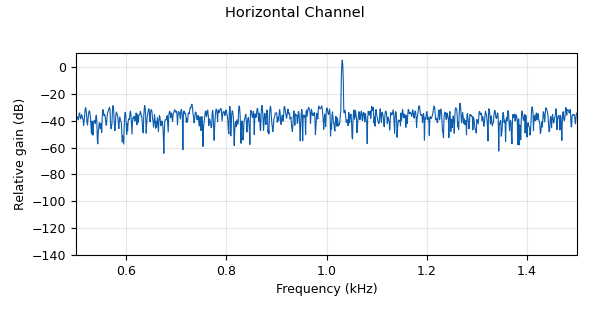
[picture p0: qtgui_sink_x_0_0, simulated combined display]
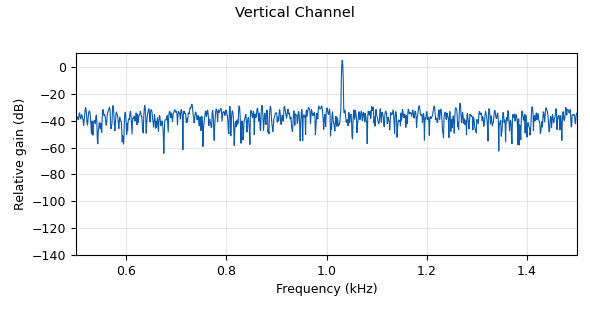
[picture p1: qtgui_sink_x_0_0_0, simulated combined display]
<?xml version='1.0' encoding='utf-8'?>
<?grc format='1' created='3.7.11'?>
<flow_graph>
<block>
<key>options</key>
<param><key>id</key><value>top_block</value></param>
<param><key>generate_options</key><value>qt_gui</value></param>
</block>
<block>
<key>variable</key>
<param><key>id</key><value>freq</value></param>
<param><key>value</key><value>1e3</value></param>
</block>
<block>
<key>variable_qtgui_range</key>
<param><key>id</key><value>offset</value></param>
<param><key>value</key><value>math.pi/4</value></param>
<param><key>label</key><value>Offset</value></param>
<param><key>min_len</key><value>20</value></param>
<param><key>orient</key><value>Qt.Horizontal</value></param>
<param><key>start</key><value>0</value></param>
<param><key>step</key><value>math.pi/20</value></param>
<param><key>stop</key><value>math.pi/2</value></param>
<param><key>widget</key><value>dial</value></param>
</block>
<block>
<key>variable</key>
<param><key>id</key><value>offset</value></param>
<param><key>_enabled</key><value>0</value></param>
<param><key>value</key><value>math.pi/2</value></param>
</block>
<block>
<key>variable</key>
<param><key>id</key><value>samp_rate</value></param>
<param><key>value</key><value>32000</value></param>
</block>
<block>
<key>variable</key>
<param><key>id</key><value>tx_amp</value></param>
<param><key>value</key><value>10</value></param>
</block>
<block>
<key>Maximal_Combining</key>
<param><key>id</key><value>Maximal_Combining_0</value></param>
</block>
<block>
<key>analog_fastnoise_source_x</key>
<param><key>id</key><value>analog_fastnoise_source_x_0</value></param>
<param><key>amp</key><value>1</value></param>
<param><key>noise_type</key><value>analog.GR_GAUSSIAN</value></param>
<param><key>type</key><value>complex</value></param>
<param><key>seed</key><value>0</value></param>
<param><key>samples</key><value>8192</value></param>
</block>
<block>
<key>analog_sig_source_x</key>
<param><key>id</key><value>analog_sig_source_x_0</value></param>
<param><key>amp</key><value>tx_amp*math.cos(offset)*math.cos(offset)</value></param>
<param><key>freq</key><value>freq</value></param>
<param><key>offset</key><value>0</value></param>
<param><key>type</key><value>complex</value></param>
<param><key>samp_rate</key><value>samp_rate</value></param>
<param><key>waveform</key><value>analog.GR_COS_WAVE</value></param>
</block>
<block>
<key>analog_sig_source_x</key>
<param><key>id</key><value>analog_sig_source_x_0_0</value></param>
<param><key>amp</key><value>tx_amp*math.cos(math.pi/2-offset)*math.cos(math.pi/2-offset)</value></param>
<param><key>freq</key><value>freq</value></param>
<param><key>offset</key><value>0</value></param>
<param><key>type</key><value>complex</value></param>
<param><key>samp_rate</key><value>samp_rate</value></param>
<param><key>waveform</key><value>analog.GR_COS_WAVE</value></param>
</block>
<block>
<key>blocks_add_xx</key>
<param><key>id</key><value>blocks_add_xx_0</value></param>
<param><key>type</key><value>complex</value></param>
</block>
<block>
<key>blocks_add_xx</key>
<param><key>id</key><value>blocks_add_xx_0_0</value></param>
<param><key>type</key><value>complex</value></param>
</block>
<block>
<key>import</key>
<param><key>id</key><value>import_0</value></param>
<param><key>import</key><value>import math, cmath, numpy</value></param>
</block>
<block>
<key>qtgui_freq_sink_x</key>
<param><key>id</key><value>qtgui_freq_sink_x_0</value></param>
<param><key>bw</key><value>samp_rate</value></param>
<param><key>fc</key><value>freq</value></param>
<param><key>fftsize</key><value>1024</value></param>
<param><key>grid</key><value>True</value></param>
<param><key>showports</key><value>True</value></param>
<param><key>type</key><value>complex</value></param>
<param><key>update_time</key><value>0.0001</value></param>
<param><key>wintype</key><value>firdes.WIN_HAMMING</value></param>
<param><key>ymax</key><value>15</value></param>
<param><key>ymin</key><value>-10</value></param>
</block>
<block>
<key>qtgui_sink_x</key>
<param><key>id</key><value>qtgui_sink_x_0</value></param>
<param><key>bw</key><value>1e3</value></param>
<param><key>fc</key><value>freq</value></param>
<param><key>freqchangevar</key><value>None</value></param>
<param><key>fftsize</key><value>1024</value></param>
<param><key>gui_hint</key><value>(0,3)</value></param>
<param><key>name</key><value>"Combined Signal"</value></param>
<param><key>plotconst</key><value>False</value></param>
<param><key>showports</key><value>True</value></param>
<param><key>type</key><value>complex</value></param>
<param><key>wintype</key><value>firdes.WIN_BLACKMAN_hARRIS</value></param>
</block>
<block>
<key>qtgui_sink_x</key>
<param><key>id</key><value>qtgui_sink_x_0_0</value></param>
<param><key>bw</key><value>1e3</value></param>
<param><key>fc</key><value>freq</value></param>
<param><key>freqchangevar</key><value>None</value></param>
<param><key>fftsize</key><value>1024</value></param>
<param><key>gui_hint</key><value>(0,1)</value></param>
<param><key>name</key><value>"Horizontal Channel"</value></param>
<param><key>plotconst</key><value>False</value></param>
<param><key>plottime</key><value>False</value></param>
<param><key>plotwaterfall</key><value>False</value></param>
<param><key>showports</key><value>True</value></param>
<param><key>type</key><value>complex</value></param>
<param><key>wintype</key><value>firdes.WIN_BLACKMAN_hARRIS</value></param>
</block>
<block>
<key>qtgui_sink_x</key>
<param><key>id</key><value>qtgui_sink_x_0_0_0</value></param>
<param><key>bw</key><value>1e3</value></param>
<param><key>fc</key><value>freq</value></param>
<param><key>freqchangevar</key><value>None</value></param>
<param><key>fftsize</key><value>1024</value></param>
<param><key>gui_hint</key><value>(0,2)</value></param>
<param><key>name</key><value>"Vertical Channel"</value></param>
<param><key>plotconst</key><value>False</value></param>
<param><key>plottime</key><value>False</value></param>
<param><key>plotwaterfall</key><value>False</value></param>
<param><key>showports</key><value>True</value></param>
<param><key>type</key><value>complex</value></param>
<param><key>wintype</key><value>firdes.WIN_BLACKMAN_hARRIS</value></param>
</block>
<connection><source_block_id>Maximal_Combining_0</source_block_id><sink_block_id>qtgui_freq_sink_x_0</sink_block_id><source_key>0</source_key><sink_key>0</sink_key></connection>
<connection><source_block_id>Maximal_Combining_0</source_block_id><sink_block_id>qtgui_sink_x_0</sink_block_id><source_key>0</source_key><sink_key>0</sink_key></connection>
<connection><source_block_id>analog_fastnoise_source_x_0</source_block_id><sink_block_id>blocks_add_xx_0</sink_block_id><source_key>0</source_key><sink_key>1</sink_key></connection>
<connection><source_block_id>analog_fastnoise_source_x_0</source_block_id><sink_block_id>blocks_add_xx_0_0</sink_block_id><source_key>0</source_key><sink_key>0</sink_key></connection>
<connection><source_block_id>analog_sig_source_x_0</source_block_id><sink_block_id>blocks_add_xx_0</sink_block_id><source_key>0</source_key><sink_key>0</sink_key></connection>
<connection><source_block_id>analog_sig_source_x_0_0</source_block_id><sink_block_id>blocks_add_xx_0_0</sink_block_id><source_key>0</source_key><sink_key>1</sink_key></connection>
<connection><source_block_id>blocks_add_xx_0</source_block_id><sink_block_id>Maximal_Combining_0</sink_block_id><source_key>0</source_key><sink_key>0</sink_key></connection>
<connection><source_block_id>blocks_add_xx_0</source_block_id><sink_block_id>qtgui_sink_x_0_0</sink_block_id><source_key>0</source_key><sink_key>0</sink_key></connection>
<connection><source_block_id>blocks_add_xx_0_0</source_block_id><sink_block_id>Maximal_Combining_0</sink_block_id><source_key>0</source_key><sink_key>1</sink_key></connection>
<connection><source_block_id>blocks_add_xx_0_0</source_block_id><sink_block_id>qtgui_sink_x_0_0_0</sink_block_id><source_key>0</source_key><sink_key>0</sink_key></connection>
</flow_graph>
